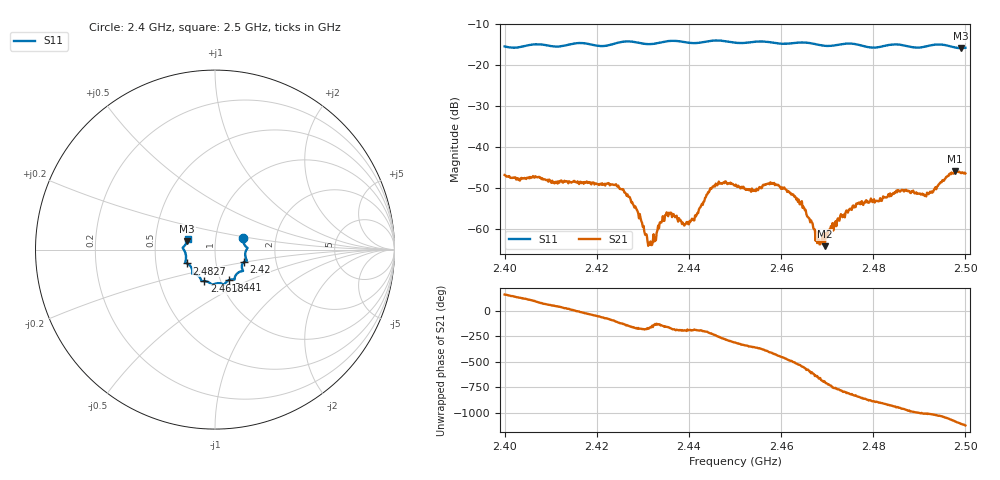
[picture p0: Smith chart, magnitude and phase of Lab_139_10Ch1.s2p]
# Hz S RI R 50
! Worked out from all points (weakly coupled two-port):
!   601 points, 2.4 GHz to 2.5 GHz, reference 50 ohm
!   highest |S21| = -45.88 dB at 2.4977 GHz (marker M1); lowest = -64.1 dB at 2.4695 GHz (marker M2)
!   lowest |S11| = -15.8 dB at 2.499 GHz (marker M3), VSWR 1.39, Z = 36.4 + j3.48 ohm
!   |S11| at or under -10 dB: start of sweep to end of sweep
!   S12 and S22 are empty: the file has one direction only
!   S11 on the Smith chart (normalised r, x): 2.4 GHz: 1.36, +0.18; 2.42 GHz: 1.36, -0.20; 2.441 GHz: 1.10, -0.39; 2.4618 GHz: 0.84, -0.30; 2.4827 GHz: 0.72, -0.12; 2.5 GHz: 0.73, +0.09
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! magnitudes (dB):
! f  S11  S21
! 2.4 GHz  -15.4  -46.7
! 2.4167 GHz  -14.5  -48.7
! 2.42 GHz  -15.2  -49.0
! 2.4262 GHz  -14.2  -51.1
! 2.4315 GHz  -14.8  -63.8
! 2.4333 GHz  -14.5  -59.1
! 2.4357 GHz  -14.0  -56.0
! 2.4388 GHz  -14.3  -58.7
! 2.441 GHz  -14.6  -57.8
! 2.445 GHz  -14.0  -49.9
! 2.45 GHz  -14.5  -49.4
! 2.4618 GHz  -14.6  -51.1
! 2.4667 GHz  -14.6  -58.3
! 2.468 GHz  -14.9  -62.7
! 2.4695 GHz  -15.2  -64.1
! 2.476 GHz  -14.8  -54.3
! 2.4827 GHz  -15.2  -52.3
! 2.4833 GHz  -15.0  -51.4
! 2.4917 GHz  -15.3  -51.1
! 2.4977 GHz  -15.6  -45.9
! 2.499 GHz  -15.8  -46.3
! 2.5 GHz  -15.7  -46.4
